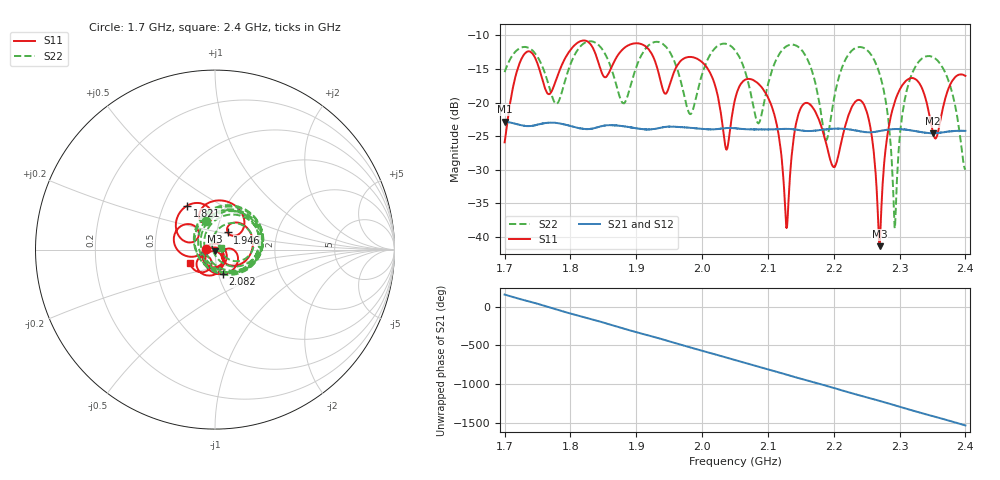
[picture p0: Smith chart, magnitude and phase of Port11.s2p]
# Hz S RI R 50
! CMT, CMT808U, 21440046, 21.4.3/4
! Date: 9/9/2026 12:55:19 AM
! Data: Format (Calibration Info)
! Freq	S11:Re/Im(F2)	S41:Re/Im(F2)	S14:Re/Im(F2)	S44:Re/Im(F2)
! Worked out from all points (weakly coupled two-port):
!   3001 points, 1.7 GHz to 2.4 GHz, reference 50 ohm
!   highest |S21| = -22.82 dB at 1.701 GHz (marker M1); lowest = -24.6 dB at 2.35 GHz (marker M2)
!   lowest |S11| = -41.4 dB at 2.27 GHz (marker M3), VSWR 1.02, Z = 49.9 - j0.849 ohm
!   |S11| at or under -10 dB: start of sweep to end of sweep
!   |S22| runs from -38.7 to -10.9 dB; largest |S21 - S12| = 0.0011
!   S11 on the Smith chart (normalised r, x): 1.7 GHz: 0.90, +0.00; 1.821 GHz: 0.66, +0.35; 1.946 GHz: 1.13, +0.22; 2.082 GHz: 1.05, -0.29; 2.4 GHz: 0.75, -0.11
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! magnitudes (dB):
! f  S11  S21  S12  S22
! 1.7 GHz  -25.9  -22.8  -22.8  -15.5
! 1.701 GHz  -25.5  -22.8  -22.9  -15.3
! 1.73 GHz  -12.8  -23.4  -23.5  -11.7
! 1.779 GHz  -16.5  -23.0  -23.1  -20.2
! 1.817 GHz  -10.8  -23.9  -23.9  -11.5
! 1.821 GHz  -10.8  -23.9  -23.9  -11.1
! 1.881 GHz  -12.0  -23.5  -23.5  -20.1
! 1.934 GHz  -15.5  -23.8  -23.8  -11.0
! 1.946 GHz  -18.5  -23.6  -23.6  -11.8
! 1.982 GHz  -13.2  -23.8  -23.8  -21.7
! 2.05 GHz  -19.6  -23.8  -23.8  -12.2
! 2.082 GHz  -16.9  -24.0  -24.0  -22.2
! 2.128 GHz  -38.5  -23.9  -23.9  -11.6
! 2.167 GHz  -20.6  -24.2  -24.2  -15.2
! 2.189 GHz  -26.2  -24.0  -24.0  -25.5
! 2.245 GHz  -20.2  -24.4  -24.4  -11.8
! 2.27 GHz  -41.4  -24.2  -24.2  -15.7
! 2.284 GHz  -23.6  -24.0  -24.0  -23.1
! 2.293 GHz  -19.8  -23.9  -23.9  -38.6
! 2.312 GHz  -16.6  -24.1  -24.1  -17.8
! 2.35 GHz  -24.2  -24.6  -24.5  -13.2
! 2.4 GHz  -16.0  -24.2  -24.2  -29.9
